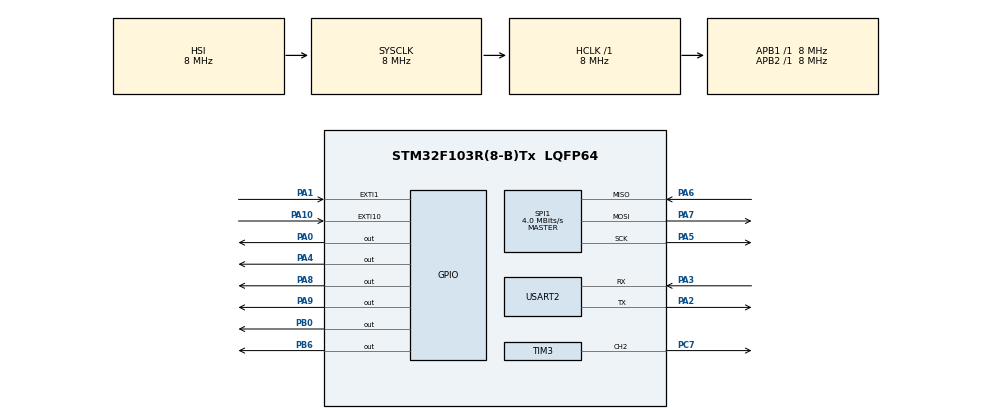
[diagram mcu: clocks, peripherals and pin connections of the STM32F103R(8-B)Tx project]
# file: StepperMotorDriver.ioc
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Dma.Request0=SPI1_RX
Dma.Request1=SPI1_TX
Dma.SPI1_RX.0.Direction=DMA_PERIPH_TO_MEMORY
Dma.SPI1_RX.0.Instance=DMA1_Channel2
Dma.SPI1_RX.0.MemDataAlignment=DMA_MDATAALIGN_BYTE
Dma.SPI1_RX.0.MemInc=DMA_MINC_ENABLE
Dma.SPI1_RX.0.Mode=DMA_NORMAL
Dma.SPI1_RX.0.PeriphDataAlignment=DMA_PDATAALIGN_BYTE
Dma.SPI1_RX.0.PeriphInc=DMA_PINC_DISABLE
Dma.SPI1_RX.0.Priority=DMA_PRIORITY_HIGH
Dma.SPI1_TX.1.Direction=DMA_MEMORY_TO_PERIPH
Dma.SPI1_TX.1.Instance=DMA1_Channel3
Dma.SPI1_TX.1.MemDataAlignment=DMA_MDATAALIGN_BYTE
Dma.SPI1_TX.1.MemInc=DMA_MINC_ENABLE
Dma.SPI1_TX.1.Mode=DMA_NORMAL
Dma.SPI1_TX.1.PeriphDataAlignment=DMA_PDATAALIGN_BYTE
Dma.SPI1_TX.1.PeriphInc=DMA_PINC_DISABLE
Dma.SPI1_TX.1.Priority=DMA_PRIORITY_HIGH
Mcu.Family=STM32F1
Mcu.Name=STM32F103R(8-B)Tx
Mcu.Package=LQFP64
NVIC.DMA1_Channel2_IRQn=true\:0\:0\:false\:false\:true\:false\:true\:true
NVIC.DMA1_Channel3_IRQn=true\:0\:0\:false\:false\:true\:false\:true\:true
NVIC.EXTI15_10_IRQn=true\:0\:0\:false\:false\:true\:true\:true\:true
NVIC.PriorityGroup=NVIC_PRIORITYGROUP_4
NVIC.SPI1_IRQn=true\:0\:0\:false\:false\:true\:true\:true\:true
NVIC.TIM3_IRQn=true\:0\:0\:false\:false\:true\:true\:true\:true
NVIC.USART2_IRQn=true\:0\:0\:false\:false\:true\:true\:true\:true
PA0-WKUP.Signal=GPIO_Output
PA1.Signal=GPXTI1
PA10.GPIO_ModeDefaultEXTI=GPIO_MODE_IT_FALLING
PA10.Signal=GPXTI10
PA2.Mode=Asynchronous
PA2.Signal=USART2_TX
PA3.Mode=Asynchronous
PA3.Signal=USART2_RX
PA4.Signal=GPIO_Output
PA5.Mode=Full_Duplex_Master
PA5.Signal=SPI1_SCK
PA6.Mode=Full_Duplex_Master
PA6.Signal=SPI1_MISO
PA7.Mode=Full_Duplex_Master
PA7.Signal=SPI1_MOSI
PA8.Signal=GPIO_Output
PA9.Signal=GPIO_Output
PB0.Signal=GPIO_Output
PB6.Signal=GPIO_Output
PC7.Signal=S_TIM3_CH2
ProjectManager.HeapSize=0x200
ProjectManager.StackSize=0x400
ProjectManager.TargetToolchain=STM32CubeIDE
RCC.AHBFreq_Value=8000000
RCC.APB1Freq_Value=8000000
RCC.APB1TimFreq_Value=8000000
RCC.APB2Freq_Value=8000000
RCC.APB2TimFreq_Value=8000000
RCC.HCLKFreq_Value=8000000
RCC.SYSCLKFreq_VALUE=8000000
RCC.USBFreq_Value=8000000
SH.S_TIM3_CH2.0=TIM3_CH2,PWM Generation2 CH2
SPI1.CalculateBaudRate=4.0 MBits/s
SPI1.Direction=SPI_DIRECTION_2LINES
SPI1.Mode=SPI_MODE_MASTER
SPI1.VirtualType=VM_MASTER
TIM3.AutoReloadPreload=TIM_AUTORELOAD_PRELOAD_DISABLE
TIM3.Channel-PWM\ Generation2\ CH2=TIM_CHANNEL_2
TIM3.ClockDivision=TIM_CLOCKDIVISION_DIV1
TIM3.OCFastMode_PWM-PWM\ Generation2\ CH2=TIM_OCFAST_DISABLE
TIM3.OCMode_PWM-PWM\ Generation2\ CH2=TIM_OCMODE_PWM1
TIM3.Period=20000
USART2.VirtualMode=VM_ASYNC
VP_SYS_VS_ND.Mode=No_Debug
board=custom

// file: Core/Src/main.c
/* USER CODE BEGIN Header */
/**
  ******************************************************************************
  * @file           : main.c
  * @brief          : Main program body
  ******************************************************************************
  * @attention
  *
  * Copyright (c) 2025 STMicroelectronics.
  * All rights reserved.
  *
  * This software is licensed under terms that can be found in the LICENSE file
  * in the root directory of this software component.
  * If no LICENSE file comes with this software, it is provided AS-IS.
  *
  ******************************************************************************
  */
/* USER CODE END Header */
#include "main.h"

/* USER CODE BEGIN Includes */
#include <stdlib.h>
#include <stdio.h>
#include <IrqHandlers.h>
/* USER CODE END Includes */

/* USER CODE BEGIN PM */
#define TRANSFER_WAIT 1
#define TRANSFER_COMPLETE 0
#define TRANSFER_ERROR 2
/* USER CODE END PM */

SPI_HandleTypeDef hspi1;
DMA_HandleTypeDef hdma_spi1_rx;
DMA_HandleTypeDef hdma_spi1_tx;

TIM_HandleTypeDef htim3;

UART_HandleTypeDef huart2;

/* USER CODE BEGIN PV */
extern struct IrqHandlers irqHandlers;
__IO uint32_t wTransferState = TRANSFER_WAIT;
/* USER CODE END PV */

void SystemClock_Config(void);
static void MX_GPIO_Init(void);
static void MX_DMA_Init(void);
static void MX_TIM3_Init(void);
static void MX_SPI1_Init(void);
static void MX_USART2_UART_Init(void);

int main(void)
{

  /* USER CODE BEGIN 1 */
  setvbuf(stdin, NULL, _IONBF, 0);
  /* USER CODE END 1 */

  /* MCU Configuration--------------------------------------------------------*/

  /* Reset of all peripherals, Initializes the Flash interface and the Systick. */
  HAL_Init();

  /* Configure the system clock */
  SystemClock_Config();

  /* Initialize all configured peripherals */
  MX_GPIO_Init();
  MX_DMA_Init();
  MX_TIM3_Init();
  MX_SPI1_Init();
  MX_USART2_UART_Init();
  /* USER CODE BEGIN 2 */

  //irqHandlers.irq_handlers[0].func=dummy;
  //timIrqHandlers.irq_handlers[0].userptr=NULL;

  irqHandlers.tim3.func = NULL;
  irqHandlers.tim3.userptr = NULL;

  irqHandlers.irq.func = NULL;
  irqHandlers.irq.enabled = 0;

  HAL_GPIO_WritePin(GPIOB, GPIO_PIN_6, GPIO_PIN_SET); //L6474

  //printf("ok\r\n");
  //L6474_create();
  //L6474_move();
  //L6474_run();
  ENC28J60_test();

  /* USER CODE END 2 */

  /* Infinite loop */
  /* USER CODE BEGIN WHILE */
  while(1)
  {

	  //printf("OK\r\n");
	  //fflush(stdout);
	  //HAL_Delay(1000);

	  //* @param flag_irq      pin name of the FLAG pin of the component.
	  //* @param standby_reset pin name of the STBY\RST pin of the component.
	  //* @param direction     pin name of the DIR pin of the component.
	  //* @param pwm           pin name of the PWM pin of the component.
	  //* @param ssel          pin name of the SSEL pin of the SPI device to be used for communication.
	  //* @param spi           SPI device to be used for communication.

	  //NUCLEO PIN                ARDUINO PIN /mbed-os
	  //PA_7          MOSI                D11
	  //PA_6          MISO                D12
	  //PA_5          SCK                 D13
	  //PA_10         flag_irq            D2
	  //PA_9          standby_reset       D8
	  //PA_8          direction           D7
	  //PC_7          pwm                 D9
	  //PB_6          ssel (chip select)  D10

	  //ENC28J60
	  //NUCLEO PIN                ARDUINO PIN /mbed-os
	  //GND           GND
	  //PA_O          RST                 AO
	  //SCK           SCK
	  //SO                                MISO
	  //PA_1          INT                 A1
	  //VCC           3.3V
	  //PB_0          CS                  A2
	  //SI            MOSI
	  //              WOL
	  //              CLK

	  //const char * buf = "Hello World3\n\r";
	  //HAL_UART_Transmit(&huart2, buf, strlen(buf), 10);
	  //HAL_Delay(1000);
	  //printf("Hello World123\n\r");
  	}
    /* USER CODE END WHILE */

}

void SystemClock_Config(void)
{
  RCC_OscInitTypeDef RCC_OscInitStruct = {0};
  RCC_ClkInitTypeDef RCC_ClkInitStruct = {0};

  /** Initializes the RCC Oscillators according to the specified parameters
  * in the RCC_OscInitTypeDef structure.
  */
  RCC_OscInitStruct.OscillatorType = RCC_OSCILLATORTYPE_HSI;
  RCC_OscInitStruct.HSIState = RCC_HSI_ON;
  RCC_OscInitStruct.HSICalibrationValue = RCC_HSICALIBRATION_DEFAULT;
  RCC_OscInitStruct.PLL.PLLState = RCC_PLL_NONE;
  if (HAL_RCC_OscConfig(&RCC_OscInitStruct) != HAL_OK)
  {
    Error_Handler();
  }

  /** Initializes the CPU, AHB and APB buses clocks
  */
  RCC_ClkInitStruct.ClockType = RCC_CLOCKTYPE_HCLK|RCC_CLOCKTYPE_SYSCLK
                              |RCC_CLOCKTYPE_PCLK1|RCC_CLOCKTYPE_PCLK2;
  RCC_ClkInitStruct.SYSCLKSource = RCC_SYSCLKSOURCE_HSI;
  RCC_ClkInitStruct.AHBCLKDivider = RCC_SYSCLK_DIV1;
  RCC_ClkInitStruct.APB1CLKDivider = RCC_HCLK_DIV1;
  RCC_ClkInitStruct.APB2CLKDivider = RCC_HCLK_DIV1;

  if (HAL_RCC_ClockConfig(&RCC_ClkInitStruct, FLASH_LATENCY_0) != HAL_OK)
  {
    Error_Handler();
  }
}

static void MX_SPI1_Init(void)
{

  /* SPI1 parameter configuration*/
  hspi1.Instance = SPI1;
  hspi1.Init.Mode = SPI_MODE_MASTER;
  hspi1.Init.Direction = SPI_DIRECTION_2LINES;
  hspi1.Init.DataSize = SPI_DATASIZE_8BIT;
  hspi1.Init.CLKPolarity = SPI_POLARITY_LOW;
  hspi1.Init.CLKPhase = SPI_PHASE_1EDGE;
  hspi1.Init.NSS = SPI_NSS_SOFT;
  hspi1.Init.BaudRatePrescaler = SPI_BAUDRATEPRESCALER_2;
  hspi1.Init.FirstBit = SPI_FIRSTBIT_MSB;
  hspi1.Init.TIMode = SPI_TIMODE_DISABLE;
  hspi1.Init.CRCCalculation = SPI_CRCCALCULATION_DISABLE;
  hspi1.Init.CRCPolynomial = 10;
  if (HAL_SPI_Init(&hspi1) != HAL_OK)
  {
    Error_Handler();
  }

}

static void MX_TIM3_Init(void)
{

  TIM_MasterConfigTypeDef sMasterConfig = {0};
  TIM_OC_InitTypeDef sConfigOC = {0};

  htim3.Instance = TIM3;
  htim3.Init.Prescaler = 0;
  htim3.Init.CounterMode = TIM_COUNTERMODE_UP;
  htim3.Init.Period = 20000;
  htim3.Init.ClockDivision = TIM_CLOCKDIVISION_DIV1;
  htim3.Init.AutoReloadPreload = TIM_AUTORELOAD_PRELOAD_DISABLE;
  if (HAL_TIM_PWM_Init(&htim3) != HAL_OK)
  {
    Error_Handler();
  }
  sMasterConfig.MasterOutputTrigger = TIM_TRGO_RESET;
  sMasterConfig.MasterSlaveMode = TIM_MASTERSLAVEMODE_DISABLE;
  if (HAL_TIMEx_MasterConfigSynchronization(&htim3, &sMasterConfig) != HAL_OK)
  {
    Error_Handler();
  }
  sConfigOC.OCMode = TIM_OCMODE_PWM1;
  sConfigOC.Pulse = 0;
  sConfigOC.OCPolarity = TIM_OCPOLARITY_HIGH;
  sConfigOC.OCFastMode = TIM_OCFAST_DISABLE;
  if (HAL_TIM_PWM_ConfigChannel(&htim3, &sConfigOC, TIM_CHANNEL_2) != HAL_OK)
  {
    Error_Handler();
  }
  HAL_TIM_MspPostInit(&htim3);

}

static void MX_USART2_UART_Init(void)
{

  huart2.Instance = USART2;
  huart2.Init.BaudRate = 115200;
  huart2.Init.WordLength = UART_WORDLENGTH_8B;
  huart2.Init.StopBits = UART_STOPBITS_1;
  huart2.Init.Parity = UART_PARITY_NONE;
  huart2.Init.Mode = UART_MODE_TX_RX;
  huart2.Init.HwFlowCtl = UART_HWCONTROL_NONE;
  huart2.Init.OverSampling = UART_OVERSAMPLING_16;
  if (HAL_UART_Init(&huart2) != HAL_OK)
  {
    Error_Handler();
  }

}

static void MX_DMA_Init(void)
{

  /* DMA controller clock enable */
  __HAL_RCC_DMA1_CLK_ENABLE();

  /* DMA interrupt init */
  /* DMA1_Channel2_IRQn interrupt configuration */
  HAL_NVIC_SetPriority(DMA1_Channel2_IRQn, 0, 0);
  HAL_NVIC_EnableIRQ(DMA1_Channel2_IRQn);
  /* DMA1_Channel3_IRQn interrupt configuration */
  HAL_NVIC_SetPriority(DMA1_Channel3_IRQn, 0, 0);
  HAL_NVIC_EnableIRQ(DMA1_Channel3_IRQn);

}

static void MX_GPIO_Init(void)
{
  GPIO_InitTypeDef GPIO_InitStruct = {0};

  /* GPIO Ports Clock Enable */
  __HAL_RCC_GPIOA_CLK_ENABLE();
  __HAL_RCC_GPIOB_CLK_ENABLE();
  __HAL_RCC_GPIOC_CLK_ENABLE();

  /*Configure GPIO pin Output Level */
  HAL_GPIO_WritePin(GPIOA, GPIO_PIN_0|GPIO_PIN_4|GPIO_PIN_8|GPIO_PIN_9, GPIO_PIN_RESET);

  /*Configure GPIO pin Output Level */
  HAL_GPIO_WritePin(GPIOB, GPIO_PIN_0|GPIO_PIN_6, GPIO_PIN_RESET);

  /*Configure GPIO pins : PA0 PA4 PA8 PA9 */
  GPIO_InitStruct.Pin = GPIO_PIN_0|GPIO_PIN_4|GPIO_PIN_8|GPIO_PIN_9;
  GPIO_InitStruct.Mode = GPIO_MODE_OUTPUT_PP;
  GPIO_InitStruct.Pull = GPIO_NOPULL;
  GPIO_InitStruct.Speed = GPIO_SPEED_FREQ_LOW;
  HAL_GPIO_Init(GPIOA, &GPIO_InitStruct);

  /*Configure GPIO pin : PA1 */
  GPIO_InitStruct.Pin = GPIO_PIN_1;
  GPIO_InitStruct.Mode = GPIO_MODE_IT_RISING;
  GPIO_InitStruct.Pull = GPIO_NOPULL;
  HAL_GPIO_Init(GPIOA, &GPIO_InitStruct);

  /*Configure GPIO pins : PB0 PB6 */
  GPIO_InitStruct.Pin = GPIO_PIN_0|GPIO_PIN_6;
  GPIO_InitStruct.Mode = GPIO_MODE_OUTPUT_PP;
  GPIO_InitStruct.Pull = GPIO_NOPULL;
  GPIO_InitStruct.Speed = GPIO_SPEED_FREQ_LOW;
  HAL_GPIO_Init(GPIOB, &GPIO_InitStruct);

  /*Configure GPIO pin : PA10 */
  GPIO_InitStruct.Pin = GPIO_PIN_10;
  GPIO_InitStruct.Mode = GPIO_MODE_IT_FALLING;
  GPIO_InitStruct.Pull = GPIO_NOPULL;
  HAL_GPIO_Init(GPIOA, &GPIO_InitStruct);

  /* EXTI interrupt init*/
  HAL_NVIC_SetPriority(EXTI15_10_IRQn, 0, 0);
  HAL_NVIC_EnableIRQ(EXTI15_10_IRQn);

}

/* USER CODE BEGIN 4 */
void HAL_SPI_TxRxCpltCallback(SPI_HandleTypeDef *hspi)
{
  wTransferState = TRANSFER_COMPLETE;
}
void HAL_SPI_ErrorCallback(SPI_HandleTypeDef *hspi)
{
  wTransferState = TRANSFER_ERROR;
}
int _write(int file, char *ptr, int len)
{
  (void)file;
  HAL_UART_Transmit(&huart2, ptr, len, 10);
  return len;
}
int _read(int file, char *ptr, int len)
{
  (void)file;
  __HAL_UART_CLEAR_OREFLAG(&huart2);
  HAL_UART_Receive(&huart2, ptr, len, HAL_MAX_DELAY);
  return len;
}

//int __io_getchar(void) {
//    uint8_t ch = 0;
//    __HAL_UART_CLEAR_OREFLAG(&huart2);
//    HAL_UART_Receive(&huart2, (uint8_t *)&ch, 1, HAL_MAX_DELAY);
//    return ch;
//}

/* USER CODE END 4 */

void Error_Handler(void)
{
  __disable_irq();
  while (1)
  {
  }
}
